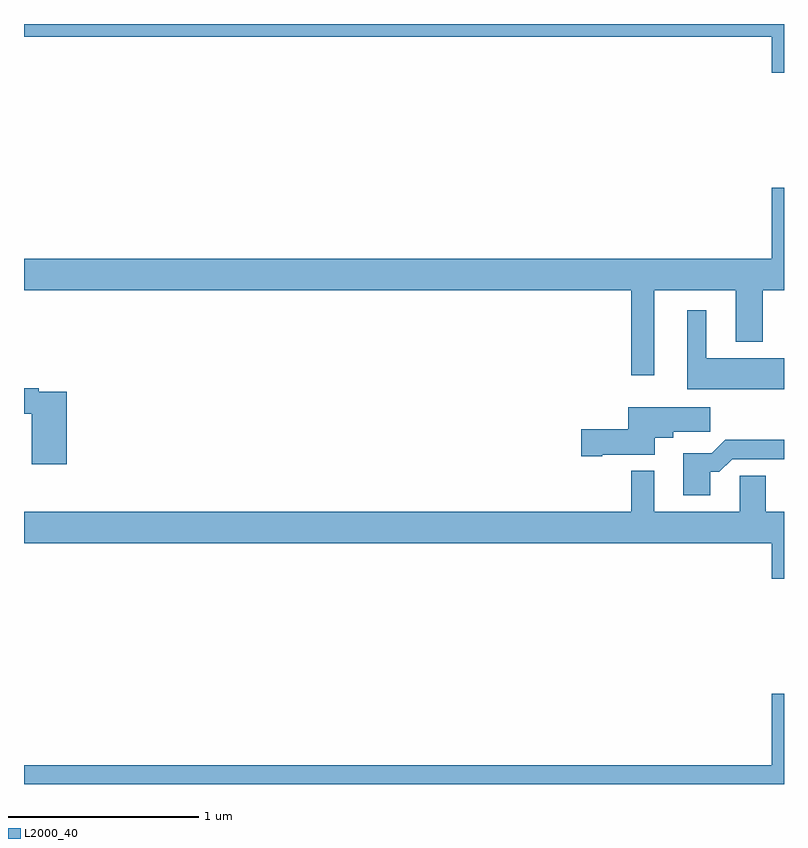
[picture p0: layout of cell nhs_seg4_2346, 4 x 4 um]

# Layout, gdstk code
import gdstk
lib = gdstk.Library(unit=1e-6, precision=1e-09)
def P(c, l, *ps):  # polygons
    for p in ps: c.add(gdstk.Polygon(p, *l))
L2000_40 = (2000, 40)

nhs_seg4_2346 = lib.new_cell('nhs_seg4_2346')
P(nhs_seg4_2346, L2000_40, [(237,784.9),(233,784.9),(233,784.832),(236.936,784.832),(236.936,784.644),(237,784.644)],
  [(236.317,783.5),(236.747,783.5),(236.747,783.227),(236.887,783.227),(236.887,783.5),(237,783.5),(237,784.039),(236.936,784.039),(236.936,783.664),(233,783.664),(233,783.5),(236.196,783.5),(236.196,783.051),(236.317,783.051)],
  [(237,783.142),(236.59,783.142),(236.59,783.394),(236.492,783.394),(236.492,782.978),(237,782.978)],
  [(233.225,782.964),(233.078,782.964),(233.078,782.984),(233,782.984),(233,782.848),(233.042,782.848),(233.042,782.583),(233.225,782.583)],
  [(236.044,782.633),(236.32,782.633),(236.32,782.723),(236.416,782.723),(236.416,782.755),(236.611,782.755),(236.611,782.884),(236.18,782.884),(236.18,782.768),(235.932,782.768),(235.932,782.626),(236.044,782.626)],
  [(236.611,782.543),(236.66,782.543),(236.727,782.61),(237,782.61),(237,782.711),(236.69,782.711),(236.62,782.641),(236.471,782.641),(236.471,782.421),(236.611,782.421)],
  [(237,782.332),(236.905,782.332),(236.905,782.522),(236.766,782.522),(236.766,782.332),(236.317,782.332),(236.317,782.548),(236.196,782.548),(236.196,782.332),(233,782.332),(233,782.168),(236.936,782.168),(236.936,781.98),(237,781.98)],
  [(237,781.375),(236.936,781.375),(236.936,781),(233,781),(233,780.9),(237,780.9)])

lib.write_gds('nhs_seg4_2346.gds')
